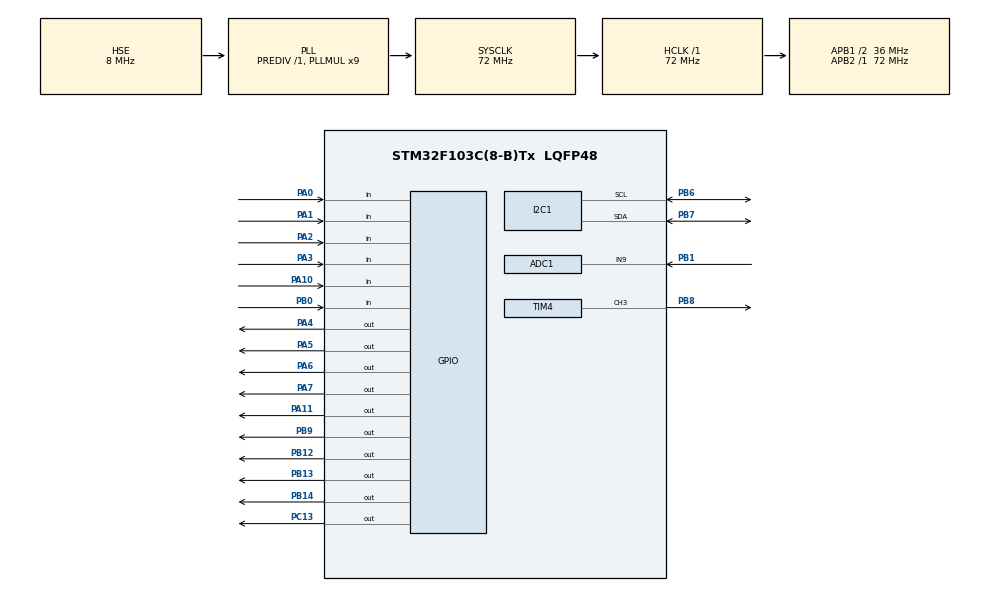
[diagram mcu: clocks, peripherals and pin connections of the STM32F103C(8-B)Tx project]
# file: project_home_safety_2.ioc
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ADC1.Channel-0\#ChannelRegularConversion=ADC_CHANNEL_9
ADC1.ContinuousConvMode=ENABLE
ADC1.NbrOfConversionFlag=1
ADC1.Rank-0\#ChannelRegularConversion=1
ADC1.SamplingTime-0\#ChannelRegularConversion=ADC_SAMPLETIME_1CYCLE_5
ADC1.master=1
I2C1.I2C_Mode=I2C_Fast
Mcu.Family=STM32F1
Mcu.Name=STM32F103C(8-B)Tx
Mcu.Package=LQFP48
NVIC.PriorityGroup=NVIC_PRIORITYGROUP_4
PA0-WKUP.GPIO_PuPd=GPIO_PULLDOWN
PA0-WKUP.Signal=GPIO_Input
PA1.GPIO_PuPd=GPIO_PULLDOWN
PA1.Signal=GPIO_Input
PA10.Signal=GPIO_Input
PA11.Signal=GPIO_Output
PA13.Mode=Serial_Wire
PA13.Signal=SYS_JTMS-SWDIO
PA14.Mode=Serial_Wire
PA14.Signal=SYS_JTCK-SWCLK
PA2.GPIO_PuPd=GPIO_PULLDOWN
PA2.Signal=GPIO_Input
PA3.GPIO_PuPd=GPIO_PULLDOWN
PA3.Signal=GPIO_Input
PA4.Signal=GPIO_Output
PA5.Signal=GPIO_Output
PA6.Signal=GPIO_Output
PA7.Signal=GPIO_Output
PB0.GPIO_PuPd=GPIO_PULLUP
PB0.Signal=GPIO_Input
PB1.Signal=ADCx_IN9
PB12.Signal=GPIO_Output
PB13.Signal=GPIO_Output
PB14.Signal=GPIO_Output
PB6.Mode=I2C
PB6.Signal=I2C1_SCL
PB7.Mode=I2C
PB7.Signal=I2C1_SDA
PB8.Signal=S_TIM4_CH3
PB9.Signal=GPIO_Output
PC13-TAMPER-RTC.Signal=GPIO_Output
PD0-OSC_IN.Mode=HSE-External-Oscillator
PD0-OSC_IN.Signal=RCC_OSC_IN
PD1-OSC_OUT.Mode=HSE-External-Oscillator
PD1-OSC_OUT.Signal=RCC_OSC_OUT
ProjectManager.HeapSize=0x200
ProjectManager.StackSize=0x400
ProjectManager.TargetToolchain=MDK-ARM V5.32
RCC.ADCPresc=RCC_ADCPCLK2_DIV6
RCC.AHBFreq_Value=72000000
RCC.APB1CLKDivider=RCC_HCLK_DIV2
RCC.APB1Freq_Value=36000000
RCC.APB1TimFreq_Value=72000000
RCC.APB2Freq_Value=72000000
RCC.APB2TimFreq_Value=72000000
RCC.HCLKFreq_Value=72000000
RCC.PLLMUL=RCC_PLL_MUL9
RCC.PLLSourceVirtual=RCC_PLLSOURCE_HSE
RCC.SYSCLKFreq_VALUE=72000000
RCC.SYSCLKSource=RCC_SYSCLKSOURCE_PLLCLK
RCC.USBFreq_Value=72000000
SH.ADCx_IN9.0=ADC1_IN9,IN9
SH.S_TIM4_CH3.0=TIM4_CH3,PWM Generation3 CH3
TIM1.Prescaler=71
TIM4.Channel-PWM\ Generation3\ CH3=TIM_CHANNEL_3
TIM4.Period=9999
TIM4.Prescaler=15
VP_TIM1_VS_ClockSourceINT.Mode=Internal
VP_TIM4_VS_ClockSourceINT.Mode=Internal
board=custom

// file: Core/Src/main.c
/* USER CODE BEGIN Header */
/**
  ******************************************************************************
  * @file           : main.c
  * @brief          : Main program body
  ******************************************************************************
  * @attention
  *
  * Copyright (c) 2026 STMicroelectronics.
  * All rights reserved.
  *
  * This software is licensed under terms that can be found in the LICENSE file
  * in the root directory of this software component.
  * If no LICENSE file comes with this software, it is provided AS-IS.
  *
  ******************************************************************************
  */
/* USER CODE END Header */
#include "main.h"

/* USER CODE BEGIN Includes */
#include "ssd1306.h"
#include "fonts.h"
#include <stdio.h>
#include <string.h>
/* USER CODE END Includes */

/* USER CODE BEGIN PTD */
#define DHT11_PORT GPIOB
#define DHT11_PIN GPIO_PIN_9
#define LED_PORT GPIOC
#define LED_PIN GPIO_PIN_13
#define TRIG_PORT GPIOA
#define TRIG_PIN GPIO_PIN_11
#define ECHO_PORT GPIOA
#define ECHO_PIN GPIO_PIN_10
#define IR_PORT GPIOB
#define IR_PIN GPIO_PIN_0
#define BUZZER_PORT GPIOB
#define BUZZER_PIN GPIO_PIN_12
#define GREEN_LED_PORT GPIOB
#define GREEN_LED_PIN GPIO_PIN_14
/* USER CODE END PTD */

ADC_HandleTypeDef hadc1;

I2C_HandleTypeDef hi2c1;

TIM_HandleTypeDef htim1;
TIM_HandleTypeDef htim4;

/* USER CODE BEGIN PV */
uint8_t RHI, RHD, TCI, TCD, SUM;
uint32_t pMillis, cMillis, Value1=0, Value2=0, Distance=0;
float tCelsius = 0, RH = 0;
char strCopy[20];

// Gate & Password Variables
char password[] = "331A";
char input_buffer[5];
int input_index = 0;
uint32_t gas_val = 0;

typedef enum { STATE_LOCKED, STATE_DASHBOARD } SystemState;
SystemState current_state = STATE_LOCKED;
/* USER CODE END PV */

void SystemClock_Config(void);
static void MX_GPIO_Init(void);
static void MX_ADC1_Init(void);
static void MX_I2C1_Init(void);
static void MX_TIM1_Init(void);
static void MX_TIM4_Init(void);
/* USER CODE BEGIN PFP */
void microDelay(uint16_t delay);
uint8_t DHT11_Start(void);
uint8_t DHT11_Read(void);
uint32_t Get_Distance(void);
void Handle_Gate(void);
void Handle_Environment(void);
char getPressedKey(void);
/* USER CODE END PFP */

/* USER CODE BEGIN 0 */

char getPressedKey(void)
{
    char key = 0;

    GPIO_TypeDef *portRow = GPIOA;
    GPIO_TypeDef *portCol = GPIOA;

    uint16_t rowPins[4] = {GPIO_PIN_7, GPIO_PIN_6, GPIO_PIN_5, GPIO_PIN_4};
    uint16_t colPins[4] = {GPIO_PIN_3, GPIO_PIN_2, GPIO_PIN_1, GPIO_PIN_0};

    // -------- ROW 1 --------
    HAL_GPIO_WritePin(portRow, rowPins[0], GPIO_PIN_SET);
    HAL_GPIO_WritePin(portRow, rowPins[1], GPIO_PIN_RESET);
    HAL_GPIO_WritePin(portRow, rowPins[2], GPIO_PIN_RESET);
    HAL_GPIO_WritePin(portRow, rowPins[3], GPIO_PIN_RESET);

    if (HAL_GPIO_ReadPin(portCol, colPins[0]) == GPIO_PIN_SET) key = '1';
    else if (HAL_GPIO_ReadPin(portCol, colPins[1]) == GPIO_PIN_SET) key = '2';
    else if (HAL_GPIO_ReadPin(portCol, colPins[2]) == GPIO_PIN_SET) key = '3';
    else if (HAL_GPIO_ReadPin(portCol, colPins[3]) == GPIO_PIN_SET) key = 'A';

    // -------- ROW 2 --------
    if (key == 0) {
        HAL_GPIO_WritePin(portRow, rowPins[0], GPIO_PIN_RESET);
        HAL_GPIO_WritePin(portRow, rowPins[1], GPIO_PIN_SET);
        HAL_GPIO_WritePin(portRow, rowPins[2], GPIO_PIN_RESET);
        HAL_GPIO_WritePin(portRow, rowPins[3], GPIO_PIN_RESET);

        if (HAL_GPIO_ReadPin(portCol, colPins[0]) == GPIO_PIN_SET) key = '4';
        else if (HAL_GPIO_ReadPin(portCol, colPins[1]) == GPIO_PIN_SET) key = '5';
        else if (HAL_GPIO_ReadPin(portCol, colPins[2]) == GPIO_PIN_SET) key = '6';
        else if (HAL_GPIO_ReadPin(portCol, colPins[3]) == GPIO_PIN_SET) key = 'B';
    }

    // -------- ROW 3 --------
    if (key == 0) {
        HAL_GPIO_WritePin(portRow, rowPins[0], GPIO_PIN_RESET);
        HAL_GPIO_WritePin(portRow, rowPins[1], GPIO_PIN_RESET);
        HAL_GPIO_WritePin(portRow, rowPins[2], GPIO_PIN_SET);
        HAL_GPIO_WritePin(portRow, rowPins[3], GPIO_PIN_RESET);

        if (HAL_GPIO_ReadPin(portCol, colPins[0]) == GPIO_PIN_SET) key = '7';
        else if (HAL_GPIO_ReadPin(portCol, colPins[1]) == GPIO_PIN_SET) key = '8';
        else if (HAL_GPIO_ReadPin(portCol, colPins[2]) == GPIO_PIN_SET) key = '9';
        else if (HAL_GPIO_ReadPin(portCol, colPins[3]) == GPIO_PIN_SET) key = 'C';
    }

    // -------- ROW 4 --------
    if (key == 0) {
        HAL_GPIO_WritePin(portRow, rowPins[0], GPIO_PIN_RESET);
        HAL_GPIO_WritePin(portRow, rowPins[1], GPIO_PIN_RESET);
        HAL_GPIO_WritePin(portRow, rowPins[2], GPIO_PIN_RESET);
        HAL_GPIO_WritePin(portRow, rowPins[3], GPIO_PIN_SET);

        if (HAL_GPIO_ReadPin(portCol, colPins[0]) == GPIO_PIN_SET) key = '*';
        else if (HAL_GPIO_ReadPin(portCol, colPins[1]) == GPIO_PIN_SET) key = '0';
        else if (HAL_GPIO_ReadPin(portCol, colPins[2]) == GPIO_PIN_SET) key = '#';
        else if (HAL_GPIO_ReadPin(portCol, colPins[3]) == GPIO_PIN_SET) key = 'D';
    }

    // -------- DEBOUNCE --------
    if (key != 0) {
        HAL_Delay(20);
        return key;
    }

    return 0;
}

uint32_t Get_Distance(void) {
    uint32_t local_val1 = 0, local_val2 = 0;

    HAL_GPIO_WritePin(TRIG_PORT, TRIG_PIN, GPIO_PIN_SET);
    microDelay(10);
    HAL_GPIO_WritePin(TRIG_PORT, TRIG_PIN, GPIO_PIN_RESET);

    // Wait for Echo to go HIGH with a short timeout
    uint32_t timeout = 0xFFFF;
    while (!(HAL_GPIO_ReadPin(ECHO_PORT, ECHO_PIN)) && timeout--);
    if (timeout == 0) return 999; // Return high distance if sensor fails

    __HAL_TIM_SET_COUNTER(&htim1, 0);
    local_val1 = __HAL_TIM_GET_COUNTER(&htim1);

    // Wait for Echo to go LOW
    timeout = 0xFFFF;
    while ((HAL_GPIO_ReadPin(ECHO_PORT, ECHO_PIN)) && timeout--);
    local_val2 = __HAL_TIM_GET_COUNTER(&htim1);

    Distance = (local_val2 - local_val1) * 0.034 / 2;
    return Distance;
}

void microDelay(uint16_t delay) {
    __HAL_TIM_SET_COUNTER(&htim1, 0);
    while (__HAL_TIM_GET_COUNTER(&htim1) < delay);
}

uint8_t DHT11_Start(void) {
    uint8_t Response = 0;
    GPIO_InitTypeDef GPIO_InitStruct = {0};
    GPIO_InitStruct.Pin = DHT11_PIN;
    GPIO_InitStruct.Mode = GPIO_MODE_OUTPUT_PP;
    GPIO_InitStruct.Speed = GPIO_SPEED_FREQ_LOW;
    HAL_GPIO_Init(DHT11_PORT, &GPIO_InitStruct);

    HAL_GPIO_WritePin(DHT11_PORT, DHT11_PIN, 0);
    HAL_Delay(18);
    HAL_GPIO_WritePin(DHT11_PORT, DHT11_PIN, 1);
    microDelay(30);

    GPIO_InitStruct.Mode = GPIO_MODE_INPUT;
    GPIO_InitStruct.Pull = GPIO_PULLUP;
    HAL_GPIO_Init(GPIOB, &GPIO_InitStruct);
    microDelay(40);
    if (!(HAL_GPIO_ReadPin(DHT11_PORT, DHT11_PIN))) {
        microDelay(80);
        if ((HAL_GPIO_ReadPin(DHT11_PORT, DHT11_PIN))){
					Response = 1;
				}else{
					SSD1306_GotoXY(0,52);
					SSD1306_Puts("DEBUG: STUCK LOW", &Font_7x10,1);
					SSD1306_UpdateScreen();
				}
    } else{
			SSD1306_GotoXY(0,52);
			SSD1306_Puts("DEBUG: NO REPS", &Font_7x10, 1);
			SSD1306_UpdateScreen();
		}

		// Final wait for handshake to end
		pMillis = HAL_GetTick();
		cMillis = HAL_GetTick();
		while ((HAL_GPIO_ReadPin (DHT11_PORT, DHT11_PIN)) && pMillis + 2 > cMillis)
		{
			cMillis = HAL_GetTick();
		}

    return Response;
}

uint8_t DHT11_Read (void){

  uint8_t a,b;
  for (a=0;a<8;a++)
  {
    pMillis = HAL_GetTick();
    cMillis = HAL_GetTick();
    while (!(HAL_GPIO_ReadPin (DHT11_PORT, DHT11_PIN)) && pMillis + 2 > cMillis)
    {  // wait for the pin to go high
      cMillis = HAL_GetTick();
    }
    microDelay (40);   // wait for 40 us
    if (!(HAL_GPIO_ReadPin (DHT11_PORT, DHT11_PIN)))   // if the pin is low
      b&= ~(1<<(7-a));
    else
      b|= (1<<(7-a));
    pMillis = HAL_GetTick();
    cMillis = HAL_GetTick();
    while ((HAL_GPIO_ReadPin (DHT11_PORT, DHT11_PIN)) && pMillis + 2 > cMillis)
    {  // wait for the pin to go low
      cMillis = HAL_GetTick();
    }
  }
  return b;
}

/* --- Core System Logic --- */
void Run_System_Logic(void) {
    uint32_t dist = Get_Distance();
    // Read IR Sensor (PB0) - Low typically means object detected
    uint8_t ir_detected = (HAL_GPIO_ReadPin(IR_PORT, IR_PIN) == GPIO_PIN_RESET);

    SSD1306_Fill(0);

    if (current_state == STATE_LOCKED) {
        // FORCE PHYSICAL LOCK: LED OFF and Servo at 250
        HAL_GPIO_WritePin(GREEN_LED_PORT, GREEN_LED_PIN, GPIO_PIN_RESET);
        //__HAL_TIM_SET_COMPARE(&htim3, TIM_CHANNEL_2, 250);

        if ((dist > 10 || dist == 0) && !ir_detected) {
            SSD1306_GotoXY(45, 10);
            SSD1306_Puts("VAIYA", &Font_11x18, 1);
            SSD1306_GotoXY(25, 35);
					SSD1306_Puts("GIVE BONUS PLS", &Font_7x10, 1);

            // IR DEBUG MESSAGE
            /*if (ir_detected) {
                SSD1306_GotoXY(0, 53);
                SSD1306_Puts("IR: Someone is there", &Font_7x10, 1);
            }*/
            input_index = 0;
        } else {
            // PASSWORD PROMPT
            SSD1306_GotoXY(0, 0);
            SSD1306_Puts("Enter Password:", &Font_7x10, 1);

            char mask[5] = "----";
            for(int i=0; i<input_index; i++) mask[i] = '*';
            SSD1306_GotoXY(48, 30);
            SSD1306_Puts(mask, &Font_11x18, 1);

            char key = getPressedKey();
            if (key != 0 && key != '#' && key != '*') {
                input_buffer[input_index++] = key;
                if (input_index == 4) {
                    input_buffer[4] = '\0';
                    if (strcmp(input_buffer, password) == 0) {
                        current_state = STATE_DASHBOARD;
											  HAL_GPIO_WritePin(GREEN_LED_PORT, GREEN_LED_PIN, GPIO_PIN_SET);
											  __HAL_TIM_SET_COMPARE(&htim4, TIM_CHANNEL_3, 750);
                    }
                    input_index = 0;
                    memset(input_buffer, 0, 4);
                }
            }
        }
    }
    else if (current_state == STATE_DASHBOARD) {
        // FORCE PHYSICAL OPEN: LED ON and Servo at 750
       // __HAL_TIM_SET_COMPARE(&htim3, TIM_CHANNEL_2, 750);

        // Environment Sensors
        HAL_ADC_Start(&hadc1);
        if(HAL_ADC_PollForConversion(&hadc1, 5) == HAL_OK) gas_val = HAL_ADC_GetValue(&hadc1);

        int dht_ok = 0;
        if(DHT11_Start()) {
            RHI = DHT11_Read(); RHD = DHT11_Read();
            TCI = DHT11_Read(); TCD = DHT11_Read(); SUM = DHT11_Read();
            if (RHI + RHD + TCI + TCD == SUM) {
                tCelsius = (float)TCI + (float)(TCD/10.0);
                RH = (float)RHI + (float)(RHD/10.0);
                dht_ok = 1;
            }
        }

        SSD1306_GotoXY(0, 0);
        SSD1306_Puts("--- DASHBOARD ---", &Font_7x10, 1);

        if (gas_val > 1500) {
            SSD1306_GotoXY(10, 25);
            SSD1306_Puts("GAS ALERT!", &Font_11x18, 1);
						HAL_GPIO_WritePin(BUZZER_PORT, BUZZER_PIN, GPIO_PIN_SET);
        } else if (dht_ok){
            char buf[20];
            sprintf(buf, "Temp: %.1f C", tCelsius);
            SSD1306_GotoXY(0, 20); SSD1306_Puts(buf, &Font_7x10, 1);
            sprintf(buf, "Hum:  %.1f %%", RH);
            SSD1306_GotoXY(0, 40); SSD1306_Puts(buf, &Font_7x10, 1);
						HAL_GPIO_WritePin(BUZZER_PORT, BUZZER_PIN, GPIO_PIN_RESET);
        }

        // AUTO-LOCK LOGIC: Distance clear (>15) and IR path clear (Not Detected)
        if (dist > 15 && !ir_detected) {
            //SSD1306_GotoXY(0, 53);
            //SSD1306_Puts("Locking in 2s...", &Font_7x10, 1);
            //SSD1306_UpdateScreen();
            //HAL_Delay(2000);
            //current_state = STATE_LOCKED;
					 HAL_GPIO_WritePin(GREEN_LED_PORT, GREEN_LED_PIN, GPIO_PIN_RESET);
					__HAL_TIM_SET_COMPARE(&htim4, TIM_CHANNEL_3, 250);
        } else if (ir_detected) {
            SSD1306_GotoXY(0, 53);
            SSD1306_Puts("Object in Path...", &Font_7x10, 1);
        }
    }
    SSD1306_UpdateScreen();
}
/* USER CODE END 0 */

int main(void)
{

  /* MCU Configuration--------------------------------------------------------*/

  /* Reset of all peripherals, Initializes the Flash interface and the Systick. */
  HAL_Init();

  /* USER CODE BEGIN Init */
	//__HAL_RCC_AFIO_CLK_ENABLE();
	//__HAL_AFIO_REMAP_TIM3_PARTIAL();
  /* USER CODE END Init */

  /* Configure the system clock */
  SystemClock_Config();

  /* Initialize all configured peripherals */
  MX_GPIO_Init();
  MX_ADC1_Init();
  MX_I2C1_Init();
  MX_TIM1_Init();
  MX_TIM4_Init();
  /* USER CODE BEGIN 2 */

	HAL_GPIO_WritePin(TRIG_PORT, TRIG_PIN, GPIO_PIN_RESET);
	// Close Gate initially
  __HAL_TIM_SET_COMPARE(&htim4, TIM_CHANNEL_3, 250);

  HAL_TIM_Base_Start(&htim1);               // Delay timer
	//HAL_TIM_Base_Start(&htim3);
  HAL_TIM_PWM_Start(&htim4, TIM_CHANNEL_3); // Servo PWM

	uint8_t oled_status = SSD1306_Init();
	if(oled_status !=1){
		while(1){
			HAL_GPIO_TogglePin(GPIOC, GPIO_PIN_13);
			HAL_Delay(200);
		}
	}

	SSD1306_Fill(0);
	SSD1306_GotoXY(0,0);
	SSD1306_Puts("OLED OK", &Font_7x10, 1);
	SSD1306_UpdateScreen();
  /* USER CODE END 2 */

  /* Infinite loop */
  while (1)
  {
			/*
				int x;
				for(int x = 250; x <= 1250; x += 5)
				{
						__HAL_TIM_SET_COMPARE(&htim4, TIM_CHANNEL_3, x);
						HAL_Delay(15);
				}

				HAL_Delay(500);

				for(int x = 1250; x >= 250; x -= 5)
				{
						__HAL_TIM_SET_COMPARE(&htim4, TIM_CHANNEL_3, x);
						HAL_Delay(15);
				}

				HAL_Delay(500);
			*/
		Run_System_Logic();
		HAL_Delay(50);
  }
}

void SystemClock_Config(void)
{
  RCC_OscInitTypeDef RCC_OscInitStruct = {0};
  RCC_ClkInitTypeDef RCC_ClkInitStruct = {0};
  RCC_PeriphCLKInitTypeDef PeriphClkInit = {0};

  /** Initializes the RCC Oscillators according to the specified parameters
  * in the RCC_OscInitTypeDef structure.
  */
  RCC_OscInitStruct.OscillatorType = RCC_OSCILLATORTYPE_HSE;
  RCC_OscInitStruct.HSEState = RCC_HSE_ON;
  RCC_OscInitStruct.HSEPredivValue = RCC_HSE_PREDIV_DIV1;
  RCC_OscInitStruct.HSIState = RCC_HSI_ON;
  RCC_OscInitStruct.PLL.PLLState = RCC_PLL_ON;
  RCC_OscInitStruct.PLL.PLLSource = RCC_PLLSOURCE_HSE;
  RCC_OscInitStruct.PLL.PLLMUL = RCC_PLL_MUL9;
  if (HAL_RCC_OscConfig(&RCC_OscInitStruct) != HAL_OK)
  {
    Error_Handler();
  }

  /** Initializes the CPU, AHB and APB buses clocks
  */
  RCC_ClkInitStruct.ClockType = RCC_CLOCKTYPE_HCLK|RCC_CLOCKTYPE_SYSCLK
                              |RCC_CLOCKTYPE_PCLK1|RCC_CLOCKTYPE_PCLK2;
  RCC_ClkInitStruct.SYSCLKSource = RCC_SYSCLKSOURCE_PLLCLK;
  RCC_ClkInitStruct.AHBCLKDivider = RCC_SYSCLK_DIV1;
  RCC_ClkInitStruct.APB1CLKDivider = RCC_HCLK_DIV2;
  RCC_ClkInitStruct.APB2CLKDivider = RCC_HCLK_DIV1;

  if (HAL_RCC_ClockConfig(&RCC_ClkInitStruct, FLASH_LATENCY_2) != HAL_OK)
  {
    Error_Handler();
  }
  PeriphClkInit.PeriphClockSelection = RCC_PERIPHCLK_ADC;
  PeriphClkInit.AdcClockSelection = RCC_ADCPCLK2_DIV6;
  if (HAL_RCCEx_PeriphCLKConfig(&PeriphClkInit) != HAL_OK)
  {
    Error_Handler();
  }
}

static void MX_ADC1_Init(void)
{

  ADC_ChannelConfTypeDef sConfig = {0};

  /** Common config
  */
  hadc1.Instance = ADC1;
  hadc1.Init.ScanConvMode = ADC_SCAN_DISABLE;
  hadc1.Init.ContinuousConvMode = ENABLE;
  hadc1.Init.DiscontinuousConvMode = DISABLE;
  hadc1.Init.ExternalTrigConv = ADC_SOFTWARE_START;
  hadc1.Init.DataAlign = ADC_DATAALIGN_RIGHT;
  hadc1.Init.NbrOfConversion = 1;
  if (HAL_ADC_Init(&hadc1) != HAL_OK)
  {
    Error_Handler();
  }

  /** Configure Regular Channel
  */
  sConfig.Channel = ADC_CHANNEL_9;
  sConfig.Rank = ADC_REGULAR_RANK_1;
  sConfig.SamplingTime = ADC_SAMPLETIME_1CYCLE_5;
  if (HAL_ADC_ConfigChannel(&hadc1, &sConfig) != HAL_OK)
  {
    Error_Handler();
  }

}

static void MX_I2C1_Init(void)
{

  hi2c1.Instance = I2C1;
  hi2c1.Init.ClockSpeed = 400000;
  hi2c1.Init.DutyCycle = I2C_DUTYCYCLE_2;
  hi2c1.Init.OwnAddress1 = 0;
  hi2c1.Init.AddressingMode = I2C_ADDRESSINGMODE_7BIT;
  hi2c1.Init.DualAddressMode = I2C_DUALADDRESS_DISABLE;
  hi2c1.Init.OwnAddress2 = 0;
  hi2c1.Init.GeneralCallMode = I2C_GENERALCALL_DISABLE;
  hi2c1.Init.NoStretchMode = I2C_NOSTRETCH_DISABLE;
  if (HAL_I2C_Init(&hi2c1) != HAL_OK)
  {
    Error_Handler();
  }

}

static void MX_TIM1_Init(void)
{

  TIM_ClockConfigTypeDef sClockSourceConfig = {0};
  TIM_MasterConfigTypeDef sMasterConfig = {0};
  TIM_OC_InitTypeDef sConfigOC = {0};
  TIM_BreakDeadTimeConfigTypeDef sBreakDeadTimeConfig = {0};

  htim1.Instance = TIM1;
  htim1.Init.Prescaler = 71;
  htim1.Init.CounterMode = TIM_COUNTERMODE_UP;
  htim1.Init.Period = 65535;
  htim1.Init.ClockDivision = TIM_CLOCKDIVISION_DIV1;
  htim1.Init.RepetitionCounter = 0;
  htim1.Init.AutoReloadPreload = TIM_AUTORELOAD_PRELOAD_DISABLE;
  if (HAL_TIM_Base_Init(&htim1) != HAL_OK)
  {
    Error_Handler();
  }
  sClockSourceConfig.ClockSource = TIM_CLOCKSOURCE_INTERNAL;
  if (HAL_TIM_ConfigClockSource(&htim1, &sClockSourceConfig) != HAL_OK)
  {
    Error_Handler();
  }
  if (HAL_TIM_PWM_Init(&htim1) != HAL_OK)
  {
    Error_Handler();
  }
  sMasterConfig.MasterOutputTrigger = TIM_TRGO_RESET;
  sMasterConfig.MasterSlaveMode = TIM_MASTERSLAVEMODE_DISABLE;
  if (HAL_TIMEx_MasterConfigSynchronization(&htim1, &sMasterConfig) != HAL_OK)
  {
    Error_Handler();
  }
  sConfigOC.OCMode = TIM_OCMODE_PWM1;
  sConfigOC.Pulse = 0;
  sConfigOC.OCPolarity = TIM_OCPOLARITY_HIGH;
  sConfigOC.OCNPolarity = TIM_OCNPOLARITY_HIGH;
  sConfigOC.OCFastMode = TIM_OCFAST_DISABLE;
  sConfigOC.OCIdleState = TIM_OCIDLESTATE_RESET;
  sConfigOC.OCNIdleState = TIM_OCNIDLESTATE_RESET;
  if (HAL_TIM_PWM_ConfigChannel(&htim1, &sConfigOC, TIM_CHANNEL_3) != HAL_OK)
  {
    Error_Handler();
  }
  sBreakDeadTimeConfig.OffStateRunMode = TIM_OSSR_DISABLE;
  sBreakDeadTimeConfig.OffStateIDLEMode = TIM_OSSI_DISABLE;
  sBreakDeadTimeConfig.LockLevel = TIM_LOCKLEVEL_OFF;
  sBreakDeadTimeConfig.DeadTime = 0;
  sBreakDeadTimeConfig.BreakState = TIM_BREAK_DISABLE;
  sBreakDeadTimeConfig.BreakPolarity = TIM_BREAKPOLARITY_HIGH;
  sBreakDeadTimeConfig.AutomaticOutput = TIM_AUTOMATICOUTPUT_DISABLE;
  if (HAL_TIMEx_ConfigBreakDeadTime(&htim1, &sBreakDeadTimeConfig) != HAL_OK)
  {
    Error_Handler();
  }
  HAL_TIM_MspPostInit(&htim1);

}

static void MX_TIM4_Init(void)
{

  TIM_ClockConfigTypeDef sClockSourceConfig = {0};
  TIM_MasterConfigTypeDef sMasterConfig = {0};
  TIM_OC_InitTypeDef sConfigOC = {0};

  htim4.Instance = TIM4;
  htim4.Init.Prescaler = 143;
  htim4.Init.CounterMode = TIM_COUNTERMODE_UP;
  htim4.Init.Period = 9999;
  htim4.Init.ClockDivision = TIM_CLOCKDIVISION_DIV1;
  htim4.Init.AutoReloadPreload = TIM_AUTORELOAD_PRELOAD_DISABLE;
  if (HAL_TIM_Base_Init(&htim4) != HAL_OK)
  {
    Error_Handler();
  }
  sClockSourceConfig.ClockSource = TIM_CLOCKSOURCE_INTERNAL;
  if (HAL_TIM_ConfigClockSource(&htim4, &sClockSourceConfig) != HAL_OK)
  {
    Error_Handler();
  }
  if (HAL_TIM_PWM_Init(&htim4) != HAL_OK)
  {
    Error_Handler();
  }
  sMasterConfig.MasterOutputTrigger = TIM_TRGO_RESET;
  sMasterConfig.MasterSlaveMode = TIM_MASTERSLAVEMODE_DISABLE;
  if (HAL_TIMEx_MasterConfigSynchronization(&htim4, &sMasterConfig) != HAL_OK)
  {
    Error_Handler();
  }
  sConfigOC.OCMode = TIM_OCMODE_PWM1;
  sConfigOC.Pulse = 0;
  sConfigOC.OCPolarity = TIM_OCPOLARITY_HIGH;
  sConfigOC.OCFastMode = TIM_OCFAST_DISABLE;
  if (HAL_TIM_PWM_ConfigChannel(&htim4, &sConfigOC, TIM_CHANNEL_3) != HAL_OK)
  {
    Error_Handler();
  }
  HAL_TIM_MspPostInit(&htim4);

}

static void MX_GPIO_Init(void)
{
  GPIO_InitTypeDef GPIO_InitStruct = {0};

  /* GPIO Ports Clock Enable */
  __HAL_RCC_GPIOC_CLK_ENABLE();
  __HAL_RCC_GPIOD_CLK_ENABLE();
  __HAL_RCC_GPIOA_CLK_ENABLE();
  __HAL_RCC_GPIOB_CLK_ENABLE();

  /*Configure GPIO pin Output Level */
  HAL_GPIO_WritePin(GPIOC, GPIO_PIN_13, GPIO_PIN_RESET);

	/*Configure GPIO pin : PC13 */
  GPIO_InitStruct.Pin = GPIO_PIN_13;
  GPIO_InitStruct.Mode = GPIO_MODE_OUTPUT_PP;
  GPIO_InitStruct.Pull = GPIO_NOPULL;
  GPIO_InitStruct.Speed = GPIO_SPEED_FREQ_LOW;
  HAL_GPIO_Init(GPIOC, &GPIO_InitStruct);

  /*Configure GPIO pin Output Level */
  HAL_GPIO_WritePin(GPIOA, GPIO_PIN_4|GPIO_PIN_5|GPIO_PIN_6|GPIO_PIN_7
                          |GPIO_PIN_11, GPIO_PIN_RESET);

  /*Configure GPIO pin Output Level */
  HAL_GPIO_WritePin(GPIOB, GPIO_PIN_12|GPIO_PIN_13|GPIO_PIN_14|GPIO_PIN_9, GPIO_PIN_RESET);

  /*Configure GPIO pins : PA0 PA1 PA2 PA3 */
  GPIO_InitStruct.Pin = GPIO_PIN_0|GPIO_PIN_1|GPIO_PIN_2|GPIO_PIN_3;
  GPIO_InitStruct.Mode = GPIO_MODE_INPUT;
  GPIO_InitStruct.Pull = GPIO_PULLDOWN;
  HAL_GPIO_Init(GPIOA, &GPIO_InitStruct);

	/*Configure GPIO pin : PA10 */
  GPIO_InitStruct.Pin = GPIO_PIN_10;
  GPIO_InitStruct.Mode = GPIO_MODE_INPUT;
  GPIO_InitStruct.Pull = GPIO_NOPULL;
  HAL_GPIO_Init(GPIOA, &GPIO_InitStruct);

  /*Configure GPIO pins : PA4 PA5 PA6 PA7
                           PA11 */
  GPIO_InitStruct.Pin = GPIO_PIN_4|GPIO_PIN_5|GPIO_PIN_6|GPIO_PIN_7
                          |GPIO_PIN_11;
  GPIO_InitStruct.Mode = GPIO_MODE_OUTPUT_PP;
  GPIO_InitStruct.Pull = GPIO_NOPULL;
  GPIO_InitStruct.Speed = GPIO_SPEED_FREQ_LOW;
  HAL_GPIO_Init(GPIOA, &GPIO_InitStruct);

  /*Configure GPIO pin : PB0 */
  GPIO_InitStruct.Pin = GPIO_PIN_0;
  GPIO_InitStruct.Mode = GPIO_MODE_INPUT;
  GPIO_InitStruct.Pull = GPIO_PULLUP;
  HAL_GPIO_Init(GPIOB, &GPIO_InitStruct);

  /*Configure GPIO pins : PB12 PB13 PB14 PB9 */
  GPIO_InitStruct.Pin = GPIO_PIN_12|GPIO_PIN_13|GPIO_PIN_14|GPIO_PIN_9;
  GPIO_InitStruct.Mode = GPIO_MODE_OUTPUT_PP;
  GPIO_InitStruct.Pull = GPIO_NOPULL;
  GPIO_InitStruct.Speed = GPIO_SPEED_FREQ_LOW;
  HAL_GPIO_Init(GPIOB, &GPIO_InitStruct);

	/*Configure GPIO pin : PB5 */
	//GPIO_InitStruct.Pin = GPIO_PIN_5;
	//GPIO_InitStruct.Mode = GPIO_MODE_AF_PP; // Must be Alternate Function
	//GPIO_InitStruct.Speed = GPIO_SPEED_FREQ_LOW;
	//HAL_GPIO_Init(GPIOB, &GPIO_InitStruct);

}

void Error_Handler(void)
{
  __disable_irq();
  while (1)
  {
  }
}
